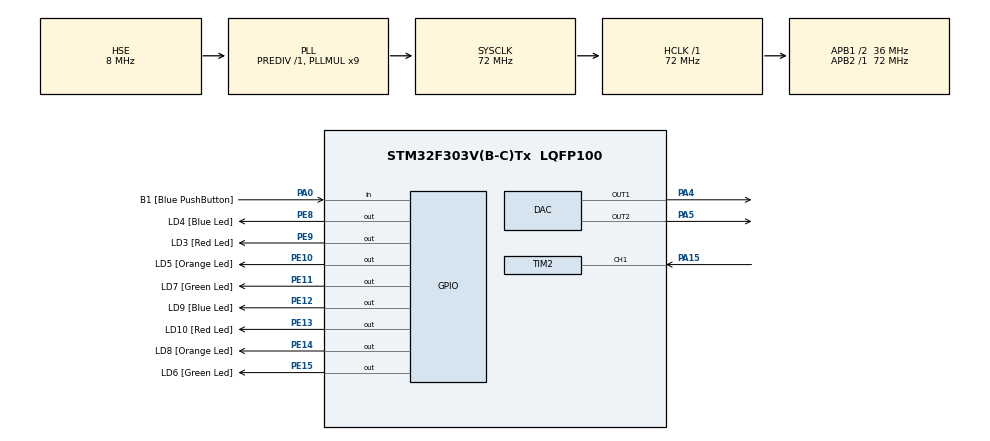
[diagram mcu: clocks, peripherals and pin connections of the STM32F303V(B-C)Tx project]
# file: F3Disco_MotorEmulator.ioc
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Mcu.Family=STM32F3
Mcu.Name=STM32F303V(B-C)Tx
Mcu.Package=LQFP100
NVIC.PriorityGroup=NVIC_PRIORITYGROUP_0
NVIC.TIM2_IRQn=true\:0\:0\:false\:false\:false\:true\:true\:true
NVIC.TIM6_DAC_IRQn=true\:0\:1\:false\:false\:false\:true\:true\:true
PA0.GPIO_Label=B1 [Blue PushButton]
PA0.Signal=GPIO_Input
PA13.GPIO_Label=SWDIO
PA13.Mode=Trace_Asynchronous_SW
PA13.Signal=SYS_JTMS-SWDIO
PA14.GPIO_Label=SWCLK
PA14.Mode=Trace_Asynchronous_SW
PA14.Signal=SYS_JTCK-SWCLK
PA15.Signal=S_TIM2_CH1_ETR
PA4.Signal=COMP_DAC1_group
PA5.Signal=COMP_DAC2_group
PB3.GPIO_Label=SWO
PB3.Mode=Trace_Asynchronous_SW
PB3.Signal=SYS_JTDO-TRACESWO
PC14-OSC32_IN.GPIO_Label=OSC32_IN
PC14-OSC32_IN.Signal=RCC_OSC32_IN
PC15-OSC32_OUT.GPIO_Label=OSC32_OUT
PC15-OSC32_OUT.Signal=RCC_OSC32_OUT
PE10.GPIO_Label=LD5 [Orange Led]
PE10.Signal=GPIO_Output
PE11.GPIO_Label=LD7 [Green Led]
PE11.Signal=GPIO_Output
PE12.GPIO_Label=LD9 [Blue Led]
PE12.Signal=GPIO_Output
PE13.GPIO_Label=LD10 [Red Led]
PE13.Signal=GPIO_Output
PE14.GPIO_Label=LD8 [Orange Led]
PE14.Signal=GPIO_Output
PE15.GPIO_Label=LD6 [Green Led]
PE15.Signal=GPIO_Output
PE8.GPIO_Label=LD4 [Blue Led]
PE8.Signal=GPIO_Output
PE9.GPIO_Label=LD3 [Red Led]
PE9.Signal=GPIO_Output
PF0-OSC_IN.GPIO_Label=OSC_IN
PF0-OSC_IN.Mode=HSE-External-Clock-Source
PF0-OSC_IN.Signal=RCC_OSC_IN
PF1-OSC_OUT.GPIO_Label=OSC_OUT
PF1-OSC_OUT.Signal=RCC_OSC_OUT
ProjectManager.HeapSize=0x200
ProjectManager.StackSize=0x400
ProjectManager.TargetToolchain=STM32CubeIDE
RCC.AHBFreq_Value=72000000
RCC.APB1CLKDivider=RCC_HCLK_DIV2
RCC.APB1Freq_Value=36000000
RCC.APB1TimFreq_Value=72000000
RCC.APB2Freq_Value=72000000
RCC.APB2TimFreq_Value=72000000
RCC.CortexFreq_Value=72000000
RCC.HCLKFreq_Value=72000000
RCC.HSE_VALUE=8000000
RCC.HSI_VALUE=8000000
RCC.LSE_VALUE=32768
RCC.PLLMUL=RCC_PLL_MUL9
RCC.PLLSourceVirtual=RCC_PLLSOURCE_HSE
RCC.PRESCALERUSB=RCC_USBCLKSOURCE_PLL_DIV1_5
RCC.SYSCLKFreq_VALUE=72000000
RCC.SYSCLKSourceVirtual=RCC_SYSCLKSOURCE_PLLCLK
RCC.USBFreq_Value=48000000
SH.COMP_DAC1_group.0=DAC_OUT1,DAC_OUT1
SH.COMP_DAC2_group.0=DAC_OUT2,Enable_DAC_OUT2
SH.S_TIM2_CH1_ETR.0=TIM2_CH1,Input_Capture1_from_TI1
TIM2.Channel-Input_Capture1_from_TI1=TIM_CHANNEL_1
TIM2.ICFilter_CH1=15
TIM2.ICPolarity_CH1=TIM_INPUTCHANNELPOLARITY_BOTHEDGE
TIM2.Period=7199
TIM2.Prescaler=0
TIM6.Period=71
TIM6.Prescaler=9
VP_TIM2_VS_ClockSourceINT.Mode=Internal
VP_TIM6_VS_ClockSourceINT.Mode=Enable_Timer
board=STM32F3DISCOVERY

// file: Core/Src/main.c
/* USER CODE BEGIN Header */
/**
 ******************************************************************************
 * @file           : main.c
 * @brief          : Main program body
 ******************************************************************************
 * @attention
 *
 * Copyright (c) 2025 STMicroelectronics.
 * All rights reserved.
 *
 * This software is licensed under terms that can be found in the LICENSE file
 * in the root directory of this software component.
 * If no LICENSE file comes with this software, it is provided AS-IS.
 *
 ******************************************************************************
 */
/* USER CODE END Header */
#include "main.h"

/* USER CODE BEGIN Includes */
#include <stdbool.h>
#include "motor_model.h"

/* USER CODE END Includes */

DAC_HandleTypeDef hdac;

TIM_HandleTypeDef htim2;
TIM_HandleTypeDef htim6;

void SystemClock_Config(void);
static void MX_GPIO_Init(void);
static void MX_DAC_Init(void);
static void MX_TIM6_Init(void);
static void MX_TIM2_Init(void);

/* USER CODE BEGIN 0 */

#ifdef __GNUC__
#define PUTCHAR_PROTOTYPE int __io_putchar(int ch)
#else
#define PUTCHAR_PROTOTYPE int fputc(int ch, FILE *f)
#endif

volatile uint32_t printf_counter = 0;
volatile uint32_t tick_10kHz = 0;
volatile uint32_t tick_1kHz = 0;
volatile uint32_t tick_100Hz = 0;
volatile uint32_t tick_10Hz = 0;
volatile uint32_t tick_1Hz = 0;
volatile bool IsFirstCaptured = 0;
volatile uint32_t ICVal1 = 0, ICVal2 = 0, Difference = 0, frequency = 0;
volatile float duty_cycle = 0.0;
volatile float applied_voltage = 0.0;
const float VDC = 12.0; // fixed VDC

#define SCALE_CURRENT 250U
#define SCALE_OMEGA   1000U

void TaskA_100kHz(void)
{

	update_motor_model(applied_voltage);
}

void TaskB_10kHz(void)
{
	duty_cycle = (Difference * 100) / TIM2->ARR;
	applied_voltage = (duty_cycle * 0.01f) * VDC;
#if 0
	if(applied_voltage != 0)
	{
		if(printf_counter <= 50000U) // 5sec
		{
			printf("%lu, %.2f, %.2f \n", printf_counter, dbg_current, dbg_omega);
			printf_counter++;
		}
	}
#endif
	HAL_DAC_SetValue(&hdac, DAC_CHANNEL_1, DAC_ALIGN_12B_R, dbg_current * SCALE_CURRENT);
	HAL_DAC_SetValue(&hdac, DAC_CHANNEL_2, DAC_ALIGN_12B_R, dbg_omega * SCALE_OMEGA);
}

void Check_Duty_Zero(void)
{
    if (HAL_GPIO_ReadPin(GPIOA, GPIO_PIN_15) == GPIO_PIN_RESET) // to detect 0% PWM
    {
    	Difference = 0; // clear
        IsFirstCaptured = 0;  // reset
    }
}

void TaskD_100Hz(void)
{
	Check_Duty_Zero();
}

static inline void run_scheduler(void)
{
	TaskA_100kHz();

	if (++tick_10kHz >= 10)  		{ tick_10kHz = 0; 	TaskB_10kHz(); 	}
	//if (++tick_1kHz  >= 100)  		{ tick_1kHz = 0; 	TaskC_1kHz(); 	}
	if (++tick_100Hz >= 1000) 		{ tick_100Hz = 0; 	TaskD_100Hz(); 	}
	//if (++tick_10Hz  >= 10000) 		{ tick_10Hz = 0; 	TaskE_10Hz(); 	}
	//if (++tick_1Hz   >= 100000) 	{ tick_1Hz = 0; 	TaskF_1Hz(); 	}
}

void TIM6_DAC_IRQHandler(void)
{
	if(__HAL_TIM_GET_FLAG(&htim6, TIM_FLAG_UPDATE))
	{
		__HAL_TIM_CLEAR_IT(&htim6, TIM_IT_UPDATE);

		run_scheduler();
	}

}

void TIM2_IRQHandler(void)
{
	if((TIM2->SR) & (TIM_SR_CC1IF))
	{
		TIM2->SR = ~(TIM_SR_CC1IF);

		if(IsFirstCaptured == 0 && (GPIOA->IDR & GPIO_PIN_15))
		{//rising edge
			IsFirstCaptured = 1;
			ICVal1 = TIM2->CCR1;
		}
		else if(IsFirstCaptured)
		{//falling edge
			ICVal2 = TIM2->CCR1;
			if(ICVal2 > ICVal1)
			{
				Difference = ICVal2 - ICVal1;
			}
			else
			{
				Difference = (TIM2->ARR - ICVal1) + ICVal2;
			}
			IsFirstCaptured = 0;
		}
	}
}

/* USER CODE END 0 */

int main(void)
{

	/* MCU Configuration--------------------------------------------------------*/

	/* Reset of all peripherals, Initializes the Flash interface and the Systick. */
	HAL_Init();

	/* Configure the system clock */
	SystemClock_Config();

	/* Initialize all configured peripherals */
	MX_GPIO_Init();
	MX_DAC_Init();
	MX_TIM6_Init();
	MX_TIM2_Init();
	/* USER CODE BEGIN 2 */
	HAL_DAC_Start(&hdac, DAC_CHANNEL_1);
	HAL_DAC_Start(&hdac, DAC_CHANNEL_2);

	HAL_TIM_Base_Start_IT(&htim6);

	HAL_TIM_IC_Start_IT(&htim2, TIM_CHANNEL_1);  // Start Input Capture

	/* USER CODE END 2 */

	/* Infinite loop */
	/* USER CODE BEGIN WHILE */
	while (1)
	{
		if(HAL_GPIO_ReadPin(B1_GPIO_Port, B1_Pin))
		{
			HAL_GPIO_WritePin(GPIOE, GPIO_PIN_8, GPIO_PIN_SET);
		}
		/* USER CODE END WHILE */

	}
}

void SystemClock_Config(void)
{
	RCC_OscInitTypeDef RCC_OscInitStruct = {0};
	RCC_ClkInitTypeDef RCC_ClkInitStruct = {0};

	/** Initializes the RCC Oscillators according to the specified parameters
	 * in the RCC_OscInitTypeDef structure.
	 */
	RCC_OscInitStruct.OscillatorType = RCC_OSCILLATORTYPE_HSE;
	RCC_OscInitStruct.HSEState = RCC_HSE_BYPASS;
	RCC_OscInitStruct.HSEPredivValue = RCC_HSE_PREDIV_DIV1;
	RCC_OscInitStruct.HSIState = RCC_HSI_ON;
	RCC_OscInitStruct.PLL.PLLState = RCC_PLL_ON;
	RCC_OscInitStruct.PLL.PLLSource = RCC_PLLSOURCE_HSE;
	RCC_OscInitStruct.PLL.PLLMUL = RCC_PLL_MUL9;
	if (HAL_RCC_OscConfig(&RCC_OscInitStruct) != HAL_OK)
	{
		Error_Handler();
	}

	/** Initializes the CPU, AHB and APB buses clocks
	 */
	RCC_ClkInitStruct.ClockType = RCC_CLOCKTYPE_HCLK|RCC_CLOCKTYPE_SYSCLK
			|RCC_CLOCKTYPE_PCLK1|RCC_CLOCKTYPE_PCLK2;
	RCC_ClkInitStruct.SYSCLKSource = RCC_SYSCLKSOURCE_PLLCLK;
	RCC_ClkInitStruct.AHBCLKDivider = RCC_SYSCLK_DIV1;
	RCC_ClkInitStruct.APB1CLKDivider = RCC_HCLK_DIV2;
	RCC_ClkInitStruct.APB2CLKDivider = RCC_HCLK_DIV1;

	if (HAL_RCC_ClockConfig(&RCC_ClkInitStruct, FLASH_LATENCY_2) != HAL_OK)
	{
		Error_Handler();
	}
}

static void MX_DAC_Init(void)
{

	DAC_ChannelConfTypeDef sConfig = {0};

	/** DAC Initialization
	 */
	hdac.Instance = DAC;
	if (HAL_DAC_Init(&hdac) != HAL_OK)
	{
		Error_Handler();
	}

	/** DAC channel OUT1 config
	 */
	sConfig.DAC_Trigger = DAC_TRIGGER_NONE;
	sConfig.DAC_OutputBuffer = DAC_OUTPUTBUFFER_ENABLE;
	if (HAL_DAC_ConfigChannel(&hdac, &sConfig, DAC_CHANNEL_1) != HAL_OK)
	{
		Error_Handler();
	}

	/** DAC channel OUT2 config
	 */
	if (HAL_DAC_ConfigChannel(&hdac, &sConfig, DAC_CHANNEL_2) != HAL_OK)
	{
		Error_Handler();
	}

}

static void MX_TIM2_Init(void)
{

	TIM_ClockConfigTypeDef sClockSourceConfig = {0};
	TIM_MasterConfigTypeDef sMasterConfig = {0};
	TIM_IC_InitTypeDef sConfigIC = {0};

	htim2.Instance = TIM2;
	htim2.Init.Prescaler = 0;
	htim2.Init.CounterMode = TIM_COUNTERMODE_UP;
	htim2.Init.Period = 7199;
	htim2.Init.ClockDivision = TIM_CLOCKDIVISION_DIV1;
	htim2.Init.AutoReloadPreload = TIM_AUTORELOAD_PRELOAD_DISABLE;
	if (HAL_TIM_Base_Init(&htim2) != HAL_OK)
	{
		Error_Handler();
	}
	sClockSourceConfig.ClockSource = TIM_CLOCKSOURCE_INTERNAL;
	if (HAL_TIM_ConfigClockSource(&htim2, &sClockSourceConfig) != HAL_OK)
	{
		Error_Handler();
	}
	if (HAL_TIM_IC_Init(&htim2) != HAL_OK)
	{
		Error_Handler();
	}
	sMasterConfig.MasterOutputTrigger = TIM_TRGO_RESET;
	sMasterConfig.MasterSlaveMode = TIM_MASTERSLAVEMODE_DISABLE;
	if (HAL_TIMEx_MasterConfigSynchronization(&htim2, &sMasterConfig) != HAL_OK)
	{
		Error_Handler();
	}
	sConfigIC.ICPolarity = TIM_INPUTCHANNELPOLARITY_BOTHEDGE;
	sConfigIC.ICSelection = TIM_ICSELECTION_DIRECTTI;
	sConfigIC.ICPrescaler = TIM_ICPSC_DIV1;
	sConfigIC.ICFilter = 15;
	if (HAL_TIM_IC_ConfigChannel(&htim2, &sConfigIC, TIM_CHANNEL_1) != HAL_OK)
	{
		Error_Handler();
	}

}

static void MX_TIM6_Init(void)
{

	TIM_MasterConfigTypeDef sMasterConfig = {0};

	htim6.Instance = TIM6;
	htim6.Init.Prescaler = 9;
	htim6.Init.CounterMode = TIM_COUNTERMODE_UP;
	htim6.Init.Period = 71;
	htim6.Init.AutoReloadPreload = TIM_AUTORELOAD_PRELOAD_DISABLE;
	if (HAL_TIM_Base_Init(&htim6) != HAL_OK)
	{
		Error_Handler();
	}
	sMasterConfig.MasterOutputTrigger = TIM_TRGO_RESET;
	sMasterConfig.MasterSlaveMode = TIM_MASTERSLAVEMODE_DISABLE;
	if (HAL_TIMEx_MasterConfigSynchronization(&htim6, &sMasterConfig) != HAL_OK)
	{
		Error_Handler();
	}

}

static void MX_GPIO_Init(void)
{
	GPIO_InitTypeDef GPIO_InitStruct = {0};

	/* GPIO Ports Clock Enable */
	__HAL_RCC_GPIOC_CLK_ENABLE();
	__HAL_RCC_GPIOF_CLK_ENABLE();
	__HAL_RCC_GPIOA_CLK_ENABLE();
	__HAL_RCC_GPIOE_CLK_ENABLE();
	__HAL_RCC_GPIOB_CLK_ENABLE();

	/*Configure GPIO pin Output Level */
	HAL_GPIO_WritePin(GPIOE, LD4_Pin|LD3_Pin|LD5_Pin|LD7_Pin
			|LD9_Pin|LD10_Pin|LD8_Pin|LD6_Pin, GPIO_PIN_RESET);

	/*Configure GPIO pin : B1_Pin */
	GPIO_InitStruct.Pin = B1_Pin;
	GPIO_InitStruct.Mode = GPIO_MODE_INPUT;
	GPIO_InitStruct.Pull = GPIO_NOPULL;
	HAL_GPIO_Init(B1_GPIO_Port, &GPIO_InitStruct);

	/*Configure GPIO pins : LD4_Pin LD3_Pin LD5_Pin LD7_Pin
                           LD9_Pin LD10_Pin LD8_Pin LD6_Pin */
	GPIO_InitStruct.Pin = LD4_Pin|LD3_Pin|LD5_Pin|LD7_Pin
			|LD9_Pin|LD10_Pin|LD8_Pin|LD6_Pin;
	GPIO_InitStruct.Mode = GPIO_MODE_OUTPUT_PP;
	GPIO_InitStruct.Pull = GPIO_NOPULL;
	GPIO_InitStruct.Speed = GPIO_SPEED_FREQ_LOW;
	HAL_GPIO_Init(GPIOE, &GPIO_InitStruct);

}

/* USER CODE BEGIN 4 */
/* Retargets the C library printf function to the USART */
PUTCHAR_PROTOTYPE
{
	// Write a single character to UART4 and wait until transmission is complete
	//HAL_UART_Transmit(&huart2, (uint8_t *)&ch, 1, 0xFFFF);
	ITM_SendChar(ch);
	return ch;
}
/* USER CODE END 4 */

void Error_Handler(void)
{
	__disable_irq();
	while (1)
	{
	}
}
